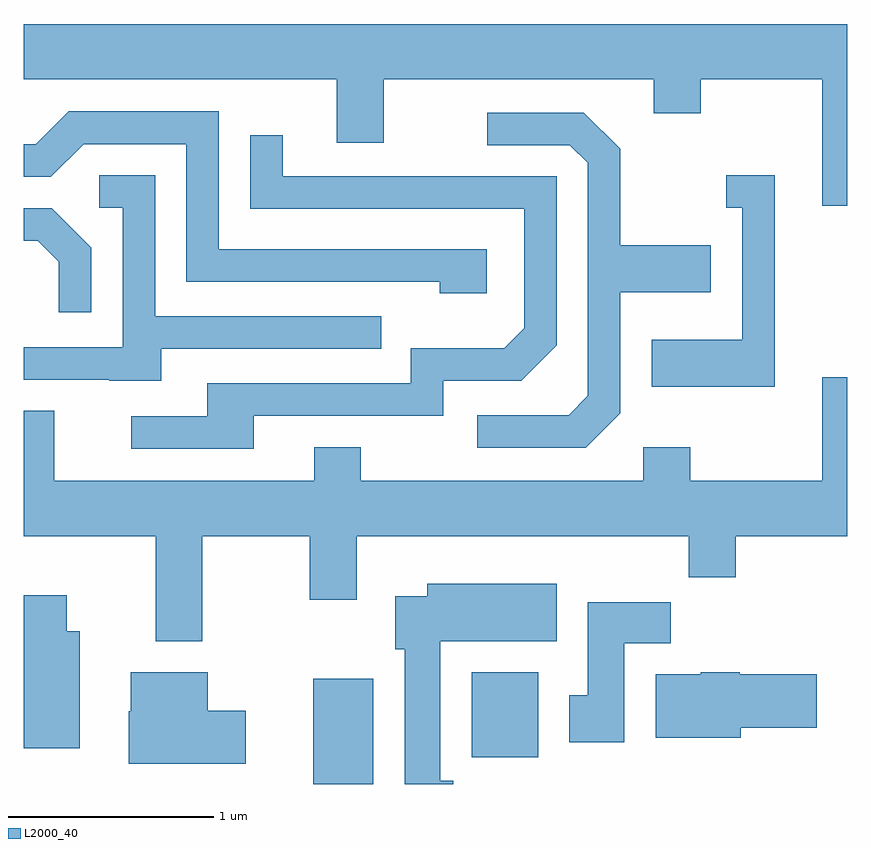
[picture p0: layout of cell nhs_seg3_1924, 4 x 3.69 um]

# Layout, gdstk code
import gdstk
lib = gdstk.Library(unit=1e-6, precision=1e-09)
def R(c, l, rs):  # rectangles x0, y0, x1, y1
    for r in rs: c.add(gdstk.rectangle(r[:2], r[2:], *l))
def P(c, l, *ps):  # polygons
    for p in ps: c.add(gdstk.Polygon(p, *l))
L2000_40 = (2000, 40)

nhs_seg3_1924 = lib.new_cell('nhs_seg3_1924')
R(nhs_seg3_1924, L2000_40, [(243.016,1155.892,243.309,1156.404), (243.786,1156.021,244.109,1156.434)])
P(nhs_seg3_1924, L2000_40, [(245.611,1159.584),(241.611,1159.584),(241.611,1159.316),(243.131,1159.316),(243.131,1159.006),(243.359,1159.006),(243.359,1159.316),(244.671,1159.316),(244.671,1159.151),(244.899,1159.151),(244.899,1159.316),(245.491,1159.316),(245.491,1158.701),(245.611,1158.701)],
  [(243.859,1158.489),(242.559,1158.489),(242.559,1159.159),(241.829,1159.159),(241.669,1158.999),(241.611,1158.999),(241.611,1158.841),(241.742,1158.841),(241.902,1159.001),(242.401,1159.001),(242.401,1158.331),(243.631,1158.331),(243.631,1158.276),(243.859,1158.276)],
  [(244.509,1157.694),(244.509,1158.281),(244.949,1158.281),(244.949,1158.509),(244.509,1158.509),(244.509,1158.977),(244.332,1159.154),(243.863,1159.154),(243.863,1158.996),(244.264,1158.996),(244.351,1158.909),(244.351,1157.777),(244.259,1157.684),(243.813,1157.684),(243.813,1157.526),(244.342,1157.526)],
  [(242.729,1157.681),(243.649,1157.681),(243.649,1157.851),(244.027,1157.851),(244.199,1158.024),(244.199,1158.844),(242.869,1158.844),(242.869,1159.043),(242.711,1159.043),(242.711,1158.686),(244.041,1158.686),(244.041,1158.107),(243.944,1158.009),(243.491,1158.009),(243.491,1157.839),(242.501,1157.839),(242.501,1157.679),(242.133,1157.679),(242.133,1157.521),(242.729,1157.521)],
  [(245.259,1158.849),(245.023,1158.849),(245.023,1158.691),(245.101,1158.691),(245.101,1158.049),(244.661,1158.049),(244.661,1157.821),(245.259,1157.821)],
  [(242.279,1158.006),(243.348,1158.006),(243.348,1158.164),(242.249,1158.164),(242.249,1158.849),(241.978,1158.849),(241.978,1158.691),(242.091,1158.691),(242.091,1158.014),(241.611,1158.014),(241.611,1157.856),(242.025,1157.856),(242.025,1157.851),(242.279,1157.851)],
  [(241.939,1158.497),(241.747,1158.689),(241.611,1158.689),(241.611,1158.531),(241.679,1158.531),(241.781,1158.429),(241.781,1158.183),(241.939,1158.183)],
  [(242.479,1157.096),(243.001,1157.096),(243.001,1156.786),(243.229,1156.786),(243.229,1157.096),(244.841,1157.096),(244.841,1156.896),(245.069,1156.896),(245.069,1157.096),(245.611,1157.096),(245.611,1157.869),(245.491,1157.869),(245.491,1157.364),(244.849,1157.364),(244.849,1157.529),(244.621,1157.529),(244.621,1157.364),(243.249,1157.364),(243.249,1157.529),(243.021,1157.529),(243.021,1157.364),(241.759,1157.364),(241.759,1157.704),(241.611,1157.704),(241.611,1157.096),(242.251,1157.096),(242.251,1156.586),(242.479,1156.586)],
  [(243.698,1155.909),(243.634,1155.909),(243.634,1156.586),(244.199,1156.586),(244.199,1156.864),(243.571,1156.864),(243.571,1156.804),(243.416,1156.804),(243.416,1156.546),(243.461,1156.546),(243.461,1155.892),(243.698,1155.892)],
  [(241.884,1156.634),(241.819,1156.634),(241.819,1156.809),(241.611,1156.809),(241.611,1156.066),(241.884,1156.066)],
  [(244.529,1156.576),(244.754,1156.576),(244.754,1156.774),(244.351,1156.774),(244.351,1156.324),(244.261,1156.324),(244.261,1156.096),(244.529,1156.096)],
  [(242.689,1156.249),(242.504,1156.249),(242.504,1156.434),(242.131,1156.434),(242.131,1156.245),(242.121,1156.245),(242.121,1155.991),(242.689,1155.991)],
  [(245.094,1156.166),(245.464,1156.166),(245.464,1156.424),(245.09,1156.424),(245.09,1156.434),(244.9,1156.434),(244.9,1156.424),(244.681,1156.424),(244.681,1156.116),(245.094,1156.116)])

lib.write_gds('nhs_seg3_1924.gds')
